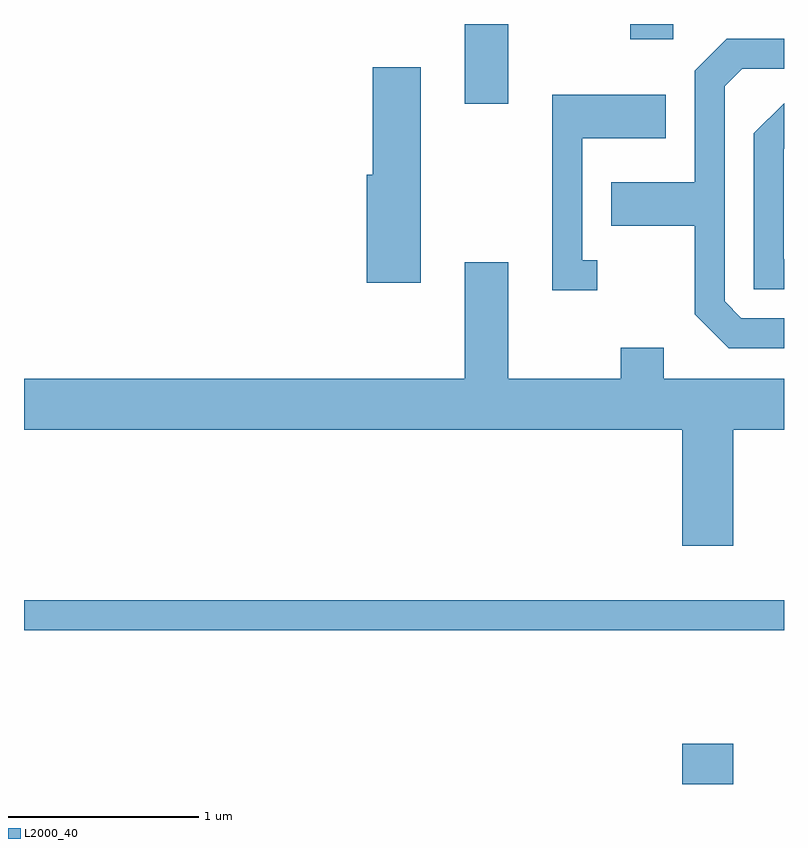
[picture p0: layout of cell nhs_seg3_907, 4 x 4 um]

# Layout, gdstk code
import gdstk
lib = gdstk.Library(unit=1e-6, precision=1e-09)
def R(c, l, rs):  # rectangles x0, y0, x1, y1
    for r in rs: c.add(gdstk.rectangle(r[:2], r[2:], *l))
def P(c, l, *ps):  # polygons
    for p in ps: c.add(gdstk.Polygon(p, *l))
L2000_40 = (2000, 40)

nhs_seg3_907 = lib.new_cell('nhs_seg3_907')
R(nhs_seg3_907, L2000_40, [(215.076,1161.892,215.344,1162.104), (211.611,1162.701,215.611,1162.859), (213.931,1165.471,214.159,1165.892), (214.801,1165.811,215.029,1165.892)])
P(nhs_seg3_907, L2000_40, [(215.611,1164.344),(215.387,1164.344),(215.299,1164.432),(215.299,1165.564),(215.392,1165.656),(215.611,1165.656),(215.611,1165.814),(215.309,1165.814),(215.141,1165.647),(215.141,1165.059),(214.701,1165.059),(214.701,1164.831),(215.141,1164.831),(215.141,1164.364),(215.319,1164.186),(215.611,1164.186)],
  [(213.699,1165.664),(213.446,1165.664),(213.446,1165.099),(213.416,1165.099),(213.416,1164.531),(213.699,1164.531)],
  [(214.628,1164.649),(214.549,1164.649),(214.549,1165.291),(214.989,1165.291),(214.989,1165.519),(214.391,1165.519),(214.391,1164.491),(214.628,1164.491)],
  [(215.611,1164.654),(215.609,1164.654),(215.609,1165.234),(215.611,1165.236),(215.611,1165.476),(215.451,1165.317),(215.451,1164.496),(215.611,1164.496)],
  [(215.344,1163.756),(215.611,1163.756),(215.611,1164.024),(214.979,1164.024),(214.979,1164.189),(214.751,1164.189),(214.751,1164.024),(214.159,1164.024),(214.159,1164.639),(213.931,1164.639),(213.931,1164.024),(211.611,1164.024),(211.611,1163.756),(215.076,1163.756),(215.076,1163.146),(215.344,1163.146)])

lib.write_gds('nhs_seg3_907.gds')
